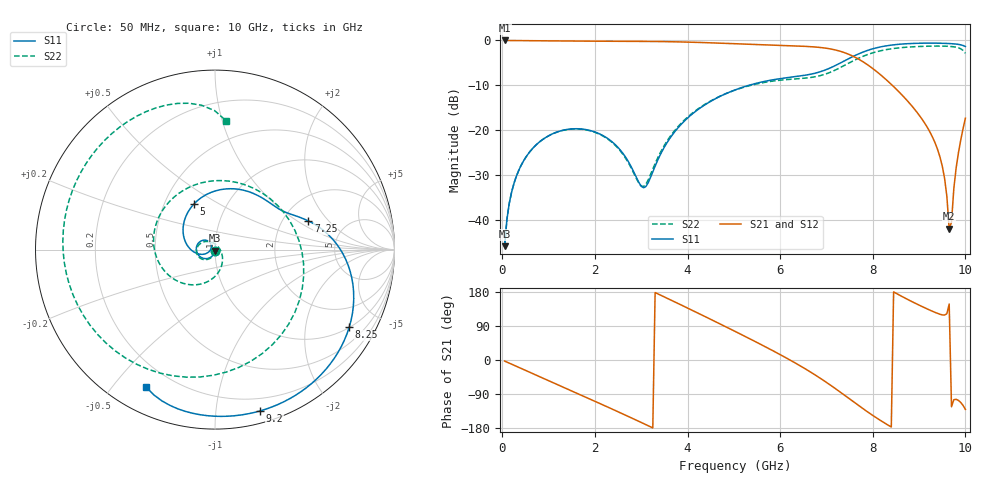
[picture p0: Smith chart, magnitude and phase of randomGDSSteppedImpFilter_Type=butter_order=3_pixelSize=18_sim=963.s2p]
! freq	dB(S11)	phase(S11)	dB(S12)	phase(S12)
!  dB(S21)	phase(S21)	dB(S22)	phase(S22)
!S-par simulation data
#  GHz  S  DB  R 50
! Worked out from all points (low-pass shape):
!   200 points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, 50 MHz to 10 GHz, reference 50 ohm
!   highest |S21| = -0.01 dB at 50 MHz (marker M1); lowest = -41.8 dB at 9.65 GHz (marker M2)
!   |S21| within 3 dB of the highest: start of sweep to 7.463 GHz
!   lowest |S11| = -45.7 dB at 50 MHz (marker M3), VSWR 1.01, Z = 50 - j0.518 ohm
!   |S11| at or under -10 dB: start of sweep to 5.315 GHz
!   |S22| runs from -45.7 to -1.3 dB; largest |S21 - S12| = 0
!   S11 on the Smith chart (normalised r, x): 50 MHz: 1.00, -0.01; 5 GHz: 0.70, +0.38; 7.25 GHz: 2.76, +1.25; 8.25 GHz: 1.02, -3.46; 9.2 GHz: 0.09, -1.31; 10 GHz: 0.11, -0.61
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0.05  -45.72 -89.9  -0.01 -2.8  -0.01 -2.8  -45.71 -89.5
0.2  -33.75 -101.2  -0.02 -11.0  -0.02 -11.0  -33.75 -99.6
0.5  -26.09 -119.6  -0.04 -27.3  -0.04 -27.3  -26.09 -115.6
1.15  -20.47 -157.9  -0.11 -62.6  -0.11 -62.6  -20.49 -149.1
1.75  -19.72 167.6  -0.15 -95.2  -0.15 -95.2  -19.78 179.6
2.45  -23.26 131.9  -0.18 -133.8  -0.18 -133.8  -23.43 137.5
3  -32.40 150.8  -0.20 -164.8  -0.20 -164.8  -32.36 51.6
3.4  -25.66 -156.2  -0.25 172.2  -0.25 172.2  -25.18 -42.1
4.25  -15.18 163.7  -0.44 122.3  -0.44 122.3  -15.04 -100.8
5  -11.10 115.3  -0.72 77.1  -0.72 77.1  -11.13 -142.3
5.05  -10.90 112.2  -0.74 74.1  -0.74 74.1  -10.95 -145.2
5.95  -8.57 60.2  -1.09 17.5  -1.09 17.5  -8.89 154.2
6.7  -7.42 31.5  -1.41 -35.1  -1.41 -35.1  -8.17 77.3
7.25  -5.28 17.0  -2.27 -80.5  -2.27 -80.5  -6.29 -1.6
7.8  -2.54 -6.6  -4.81 -129.4  -4.81 -129.4  -3.49 -78.5
8.25  -1.27 -30.0  -8.36 -165.9  -8.36 -165.9  -2.12 -129.5
8.35  -1.11 -35.1  -9.28 -173.2  -9.28 -173.2  -1.94 -139.4
8.75  -0.72 -54.3  -13.45 160.0  -13.45 160.0  -1.49 -175.1
9.2  -0.60 -74.4  -19.72 133.4  -19.72 133.4  -1.28 149.9
9.5  -0.63 -87.9  -27.89 119.0  -27.89 119.0  -1.26 127.9
9.65  -0.69 -95.1  -41.81 147.6  -41.81 147.6  -1.32 116.6
10  -1.34 -116.6  -17.28 -130.4  -17.28 -130.4  -2.86 84.9
